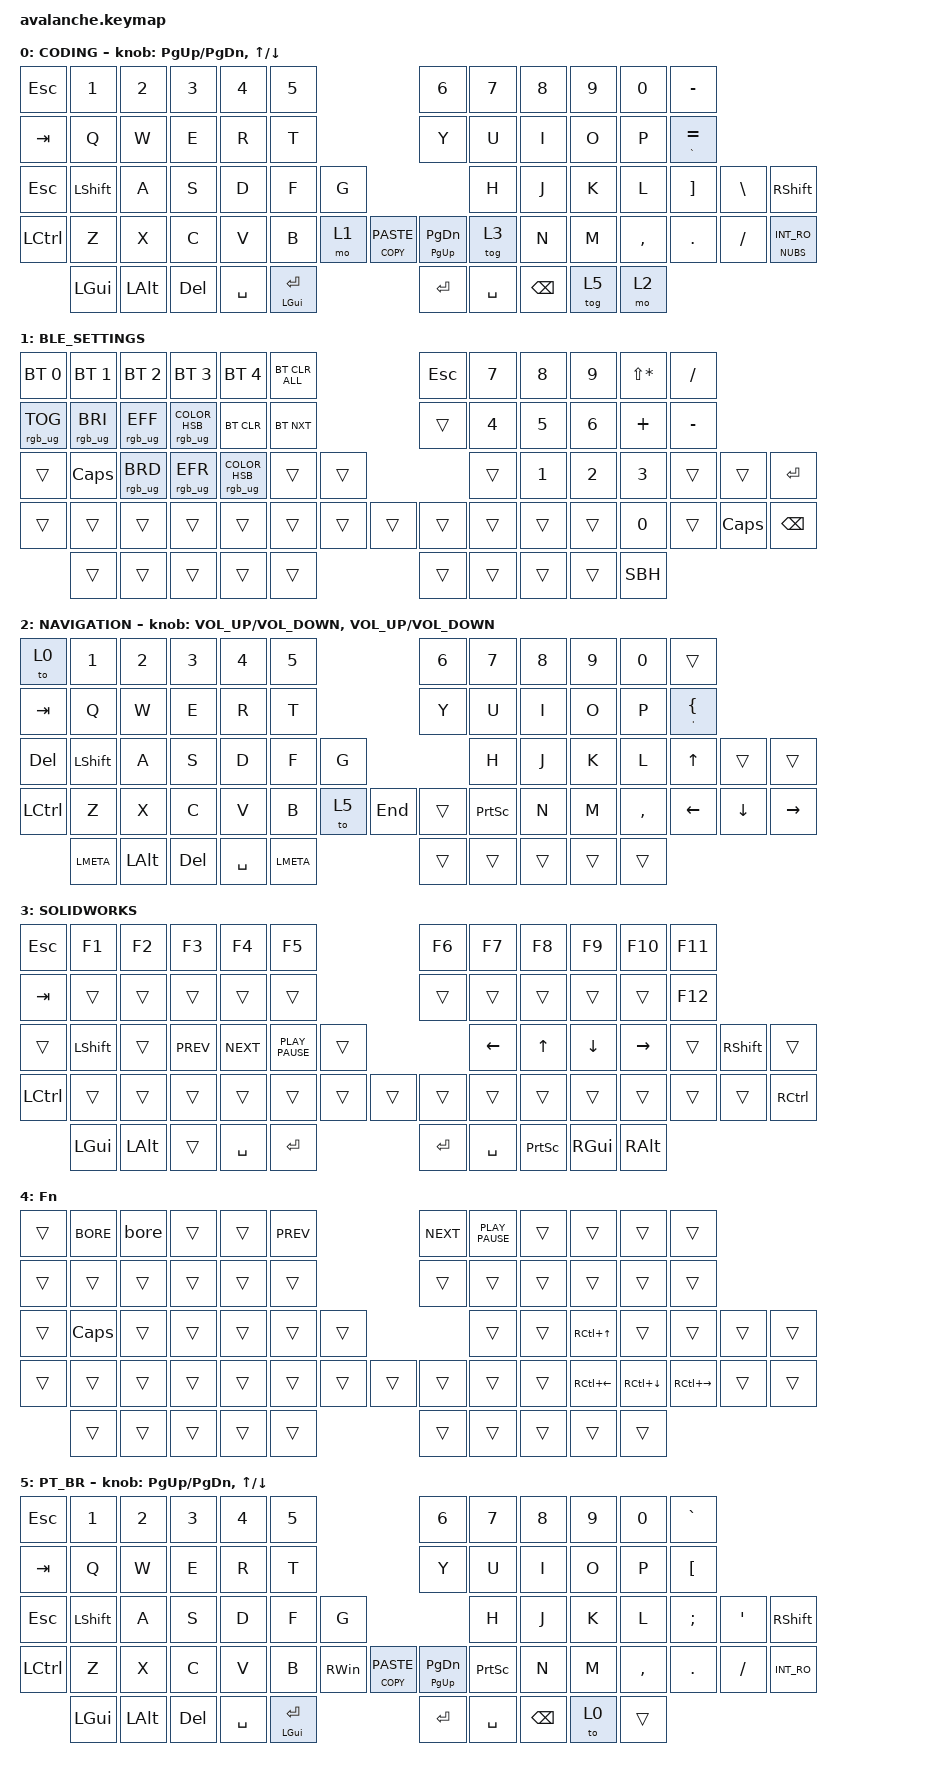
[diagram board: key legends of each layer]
#include <behaviors.dtsi>
#include <dt-bindings/zmk/bt.h>
#include <dt-bindings/zmk/keys.h>
#include <dt-bindings/zmk/rgb.h>

/ {
    behaviors {
        bhm: balanced_homerow_mods {
            compatible = "zmk,behavior-hold-tap";
            label = "HOMEROW_MODS";
            #binding-cells = <2>;
            tapping-term-ms = <200>;

            // <---[[moderate duration]]

            quick-tap-ms = <0>;
            flavor = "balanced";
            bindings = <&kp>, <&kp>;
        };

        hm: homerow_mods {
            compatible = "zmk,behavior-hold-tap";
            label = "HOMEROW_MODS";
            #binding-cells = <2>;
            tapping-term-ms = <250>;
            flavor = "tap-preferred";
            bindings = <&kp>, <&kp>;
        };
    };

    macros {
        bore: BORE {
            compatible = "zmk,behavior-macro";
            #binding-cells = <0>;
            bindings = <&none &kp LT &kp M &kp O &kp D &kp MINUS &kp D &kp I &kp A &kp M &kp GT &kp B &kp O &kp R &kp E>;
            label = "BORE";
        };

        BORE: new_macro {
            compatible = "zmk,behavior-macro";
            #binding-cells = <0>;
            bindings = <&none &kp LT &kp LS(M) &kp LS(O) &kp LS(D) &kp MINUS &kp LS(D) &kp LS(I) &kp LS(A) &kp LS(M) &kp GT &kp LS(B) &kp LS(O) &kp LS(R) &kp LS(E) &kp RET &kp RET>;
            label = "NEW_MACRO";
        };

        rev00: rev00 {
            compatible = "zmk,behavior-macro";
            #binding-cells = <0>;
            bindings = <&kp CLCK &kp LS(I) &kp LS(N) &kp LS(I) &kp LS(T) &kp LS(I) &kp LS(A) &kp LS(L) &kp SPACE &kp LS(R) &kp LS(E) &kp LS(L) &kp LS(E) &kp LS(A) &kp LS(S) &kp LS(E) &kp SPACE &kp LS(I) &kp LS(N) &kp SPACE &kp LS(A) &kp LS(C) &kp LS(C) &kp LS(O) &kp LS(R) &kp LS(D) &kp LS(A) &kp LS(N) &kp LS(C) &kp LS(E) &kp SPACE &kp LS(W) &kp LS(I) &kp LS(T) &kp LS(H) &kp SPACE &kp LS(N) &kp LS(E) &kp LS(W) &kp RET &kp LS(D) &kp LS(R) &kp LS(A) &kp LS(W) &kp LS(I) &kp LS(N) &kp LS(G) &kp SPACE &kp LS(S) &kp LS(T) &kp LS(A) &kp LS(N) &kp LS(D) &kp LS(A) &kp LS(R) &kp LS(D) &kp CAPS>;
            label = "REV00";
        };

        SBH: SBH {
            compatible = "zmk,behavior-macro";
            #binding-cells = <0>;
            bindings = <&kp S &kp B &kp H>;
            label = "SBH";
        };
    };

    keymap {
        compatible = "zmk,keymap";

        /*
        &trans  &trans  &trans  &trans  &trans  &trans                                   &trans  &trans  &trans  &trans  &trans  &trans 
// ------------------------------------------------------------------------------------------------------------------------------------------------------------------------------------
        &trans  &trans  &trans  &trans  &trans  &trans                                   &trans  &trans  &trans  &trans  &trans  &trans 
// ------------------------------------------------------------------------------------------------------------------------------------------------------------------------------------
&trans  &trans  &trans  &trans  &trans  &trans  &trans                                   &trans  &trans  &trans  &trans  &trans  &trans  &trans 
// ------------------------------------------------------------------------------------------------------------------------------------------------------------------------------------
        &trans  &trans  &trans  &trans  &trans  &trans  &trans  &trans    &trans &trans  &trans  &trans  &trans  &trans  &trans  &trans 
// ------------------------------------------------------------------------------------------------------------------------------------------------------------------------------------
                                &trans  &trans  &trans  &trans  &trans    &trans &trans  &trans  &trans  &trans
*/

        CODING {
            bindings = <
&kp ESCAPE  &kp N1          &kp N2        &kp N3      &kp N4     &kp N5                                         &kp N6                 &kp N7     &kp N8         &kp N9  &kp N0     &kp MINUS
&kp TAB     &kp Q           &kp W         &kp E       &kp R      &kp T                                          &kp Y                  &kp U      &kp I          &kp O   &kp P      &hm GRAVE EQUAL
&kp ESCAPE  &kp LEFT_SHIFT  &kp A         &kp S       &kp D      &kp F               &kp G                                             &kp H      &kp J          &kp K   &kp L      &kp RIGHT_BRACKET  &kp BACKSLASH  &kp RIGHT_SHIFT
&kp LCTRL   &kp Z           &kp X         &kp C       &kp V      &kp B               &mo 1  &hm K_COPY K_PASTE  &hm PAGE_UP PAGE_DOWN  &tog 3     &kp N          &kp M   &kp COMMA  &kp PERIOD         &kp SLASH      &hm NUBS INT_RO
            &kp LGUI        &kp LEFT_ALT  &kp DELETE  &kp SPACE  &mt LEFT_GUI ENTER                             &kp ENTER              &kp SPACE  &kp BACKSPACE  &tog 5  &mo 2
            >;

            sensor-bindings =
                <&inc_dec_kp PAGE_UP PAGE_DOWN>,
                <&inc_dec_kp UP_ARROW DOWN_ARROW>;
        };

        BLE_SETTINGS {
            bindings = <
&bt BT_SEL 0     &bt BT_SEL 1     &bt BT_SEL 2     &bt BT_SEL 3                     &bt BT_SEL 4                    &bt BT_CLR_ALL                  &kp ESC  &kp N7  &kp N8  &kp N9  &kp LS(STAR)  &kp FSLH
&rgb_ug RGB_TOG  &rgb_ug RGB_BRI  &rgb_ug RGB_EFF  &rgb_ug RGB_COLOR_HSB(0,100,50)  &bt BT_CLR                      &bt BT_NXT                      &trans   &kp N4  &kp N5  &kp N6  &kp PLUS      &kp MINUS
&trans           &kp CAPS         &rgb_ug RGB_BRD  &rgb_ug RGB_EFR                  &rgb_ug RGB_COLOR_HSB(0,0,100)  &trans          &trans                   &trans  &kp N1  &kp N2  &kp N3        &trans     &trans        &kp RET
&trans           &trans           &trans           &trans                           &trans                          &trans          &trans  &trans  &trans   &trans  &trans  &trans  &kp N0        &trans     &kp CAPSLOCK  &kp BSPC
                 &trans           &trans           &trans                           &trans                          &trans                          &trans   &trans  &trans  &trans  &SBH
            >;
        };

        NAVIGATION {
            bindings = <
&to 0      &kp NUMBER_1    &kp NUMBER_2  &kp NUMBER_3  &kp NUMBER_4  &kp N5                     &kp N6  &kp N7           &kp N8  &kp N9  &kp N0     &trans
&kp TAB    &kp Q           &kp W         &kp E         &kp R         &kp T                      &kp Y   &kp U            &kp I   &kp O   &kp P      &hm APOSTROPHE LEFT_BRACE
&kp DEL    &kp LEFT_SHIFT  &kp A         &kp S         &kp D         &kp F      &kp G                   &kp H            &kp J   &kp K   &kp L      &kp UP_ARROW               &trans          &trans
&kp LCTRL  &kp Z           &kp X         &kp C         &kp V         &kp B      &to 5  &kp END  &trans  &kp PRINTSCREEN  &kp N   &kp M   &kp COMMA  &kp LEFT_ARROW             &kp DOWN_ARROW  &kp RIGHT_ARROW
           &kp LMETA       &kp LALT      &kp DELETE    &kp SPACE     &kp LMETA                  &trans  &trans           &trans  &trans  &trans
            >;

            sensor-bindings =
                <&inc_dec_kp K_VOLUME_UP K_VOLUME_DOWN>,
                <&inc_dec_kp C_VOLUME_UP C_VOLUME_DOWN>;
        };

        SOLIDWORKS {
            bindings = <
&kp ESC    &kp F1     &kp F2    &kp F3      &kp F4      &kp F5                            &kp F6     &kp F7          &kp F8           &kp F9          &kp F10          &kp F11
&kp TAB    &trans     &trans    &trans      &trans      &trans                            &trans     &trans          &trans           &trans          &trans           &kp F12
&trans     &kp LSHFT  &trans    &kp K_PREV  &kp K_NEXT  &kp K_PLAY_PAUSE  &trans                     &kp LEFT_ARROW  &kp UP_ARROW     &kp DOWN_ARROW  &kp RIGHT_ARROW  &trans   &kp RSHFT  &trans
&kp LCTRL  &trans     &trans    &trans      &trans      &trans            &trans  &trans  &trans     &trans          &trans           &trans          &trans           &trans   &trans     &kp RCTRL
           &kp LGUI   &kp LALT  &trans      &kp SPACE   &kp ENTER                         &kp ENTER  &kp SPACE       &kp PRINTSCREEN  &kp RGUI        &kp RALT
            >;
        };

        Fn {
            bindings = <
&trans  &BORE     &bore   &trans  &trans  &kp K_PREV                  &kp K_NEXT  &kp K_PLAY_PAUSE  &trans  &trans        &trans        &trans
&trans  &trans    &trans  &trans  &trans  &trans                      &trans      &trans            &trans  &trans        &trans        &trans
&trans  &kp CAPS  &trans  &trans  &trans  &trans      &trans                      &trans            &trans  &kp RC(UP)    &trans        &trans         &trans  &trans
&trans  &trans    &trans  &trans  &trans  &trans      &trans  &trans  &trans      &trans            &trans  &kp RC(LEFT)  &kp RC(DOWN)  &kp RC(RIGHT)  &trans  &trans
        &trans    &trans  &trans  &trans  &trans                      &trans      &trans            &trans  &trans        &trans
            >;
        };

        PT_BR {
            bindings = <
&kp ESCAPE  &kp N1          &kp N2        &kp N3      &kp N4     &kp N5                                                 &kp N6                 &kp N7           &kp N8         &kp N9  &kp N0     &kp GRAVE
&kp TAB     &kp Q           &kp W         &kp E       &kp R      &kp T                                                  &kp Y                  &kp U            &kp I          &kp O   &kp P      &kp LEFT_BRACKET
&kp ESCAPE  &kp LEFT_SHIFT  &kp A         &kp S       &kp D      &kp F               &kp G                                                     &kp H            &kp J          &kp K   &kp L      &kp SEMICOLON     &kp APOSTROPHE  &kp RIGHT_SHIFT
&kp LCTRL   &kp Z           &kp X         &kp C       &kp V      &kp B               &kp RIGHT_WIN  &hm K_COPY K_PASTE  &hm PAGE_UP PAGE_DOWN  &kp PRINTSCREEN  &kp N          &kp M   &kp COMMA  &kp PERIOD        &kp SLASH       &kp INT_RO
            &kp LGUI        &kp LEFT_ALT  &kp DELETE  &kp SPACE  &mt LEFT_GUI ENTER                                     &kp ENTER              &kp SPACE        &kp BACKSPACE  &to 0   &trans
            >;

            sensor-bindings =
                <&inc_dec_kp PAGE_UP PAGE_DOWN>,
                <&inc_dec_kp UP_ARROW DOWN_ARROW>;
        };
    };
};
